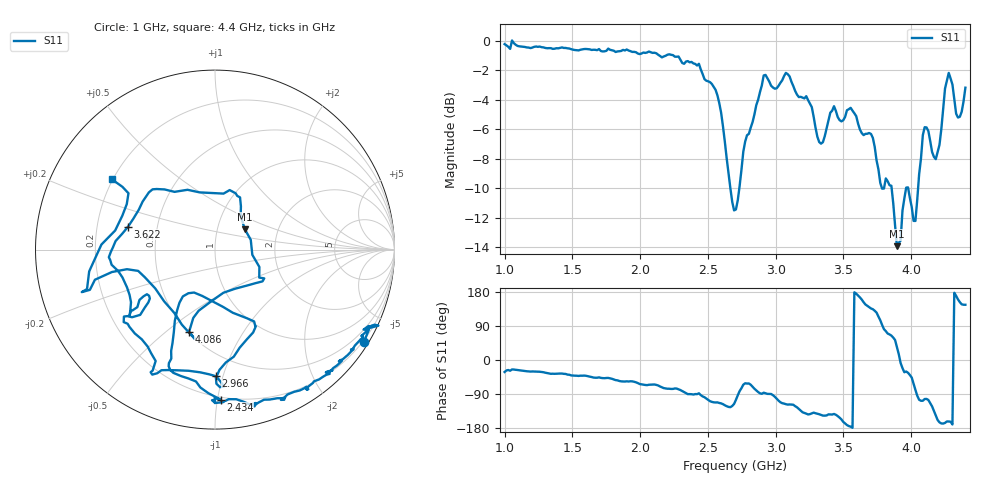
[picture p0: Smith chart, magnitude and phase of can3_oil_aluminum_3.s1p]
# MHz S MA R 50
!  freq  S11
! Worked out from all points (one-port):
!   250 points, 1 GHz to 4.4 GHz, reference 50 ohm
!   lowest |S11| = -13.9 dB at 3.895 GHz (marker M1), VSWR 1.50, Z = 67.7 + j16.1 ohm
!   |S11| at or under -10 dB: 2.666 GHz to 2.732 GHz (66.06 MHz wide, 2.45 % of centre); 3.856 GHz to 3.962 GHz (106.5 MHz wide, 2.72 % of centre); 3.978 GHz to 4.051 GHz (73.15 MHz wide, 1.82 % of centre)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
!   S11 on the Smith chart (normalised r, x): 1 GHz: 0.16, -3.52; 2.434 GHz: 0.18, -1.02; 2.966 GHz: 0.34, -0.95; 3.622 GHz: 0.34, +0.12; 4.086 GHz: 0.51, -0.60; 4.4 GHz: 0.20, +0.30
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1000  0.9759 -31.7
1436.948  0.9471 -36.6
1860.241  0.9252 -56.4
2283.534  0.8857 -77.2
2433.735  0.8366 -87.9
2542.972  0.699 -111.7
2706.827  0.268 -105.2
2788.755  0.4788 -62.1
2911.647  0.7638 -86.2
2966.265  0.7051 -89.7
3048.193  0.7351 -113.9
3130.12  0.7033 -118.0
3225.703  0.6496 -141.6
3334.94  0.4482 -145.0
3430.522  0.6006 -142.4
3553.414  0.5931 -175.9
3621.687  0.5008 165.2
3717.269  0.4688 133.9
3799.197  0.3156 81.3
3894.779  0.2011 34.5
3976.707  0.3185 -33.8
4031.325  0.2449 -79.0
4085.944  0.4791 -107.5
4126.908  0.4944 -105.5
4208.835  0.4442 -164.5
4277.108  0.7792 -162.3
4359.036  0.553 152.7
4400  0.6943 145.7
